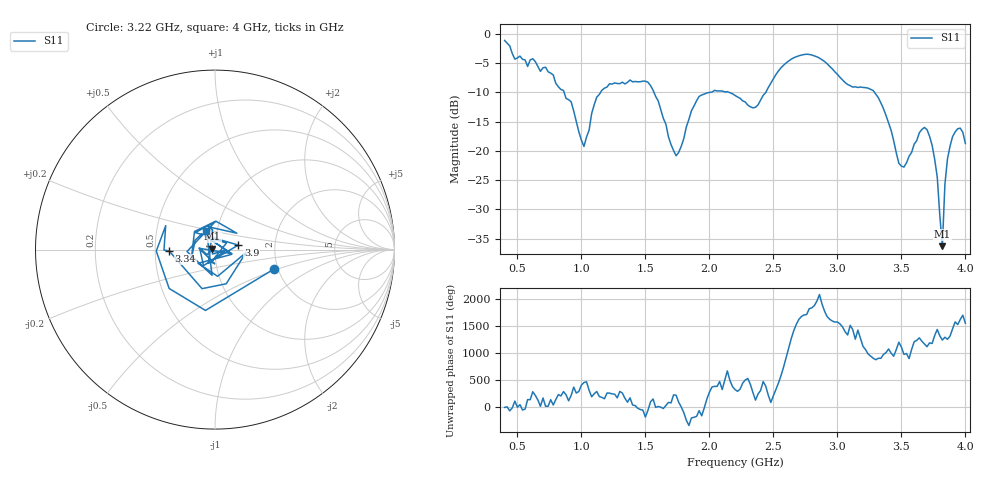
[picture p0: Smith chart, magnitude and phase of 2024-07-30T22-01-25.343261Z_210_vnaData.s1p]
!Created with skrf (http://scikit-rf.org).
# Hz S RI R 50.0
!freq ReS11 ImS11
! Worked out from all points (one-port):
!   181 points, 400 MHz to 4 GHz, reference 50 ohm
!   lowest |S11| = -36.3 dB at 3.82 GHz (marker M1), VSWR 1.03, Z = 48.6 + j0.482 ohm
!   |S11| at or under -10 dB: 1.567 GHz to 2.008 GHz (441.4 MHz wide, 24.7 % of centre); 2.153 GHz to 2.441 GHz (288.5 MHz wide, 12.6 % of centre); 3.29 GHz to end of sweep (the widest 3 of 4)
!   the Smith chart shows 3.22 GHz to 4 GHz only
!   S11 on the Smith chart (normalised r, x): 3.22 GHz: 1.91, -0.47; 3.34 GHz: 0.59, -0.01; 3.9 GHz: 1.30, +0.07; 4 GHz: 0.89, +0.19
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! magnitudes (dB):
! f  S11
! 400 MHz  -1.1
! 480 MHz  -4.3
! 620 MHz  -4.3
! 860 MHz  -9.7
! 1.02 GHz  -19.2
! 1.12 GHz  -10.8
! 1.3 GHz  -8.5
! 1.52 GHz  -8.3
! 1.72 GHz  -19.9
! 1.76 GHz  -20.2
! 1.92 GHz  -10.7
! 2.2 GHz  -10.5
! 2.36 GHz  -12.6
! 2.66 GHz  -4.1
! 2.84 GHz  -3.9
! 3.1 GHz  -8.9
! 3.22 GHz  -9.2
! 3.34 GHz  -11.8
! 3.48 GHz  -22.1
! 3.56 GHz  -20.9
! 3.66 GHz  -16.3
! 3.72 GHz  -17.5
! 3.78 GHz  -24.4
! 3.82 GHz  -36.3
! 3.84 GHz  -25.7
! 3.9 GHz  -17.6
! 3.96 GHz  -16.1
! 4 GHz  -18.7
